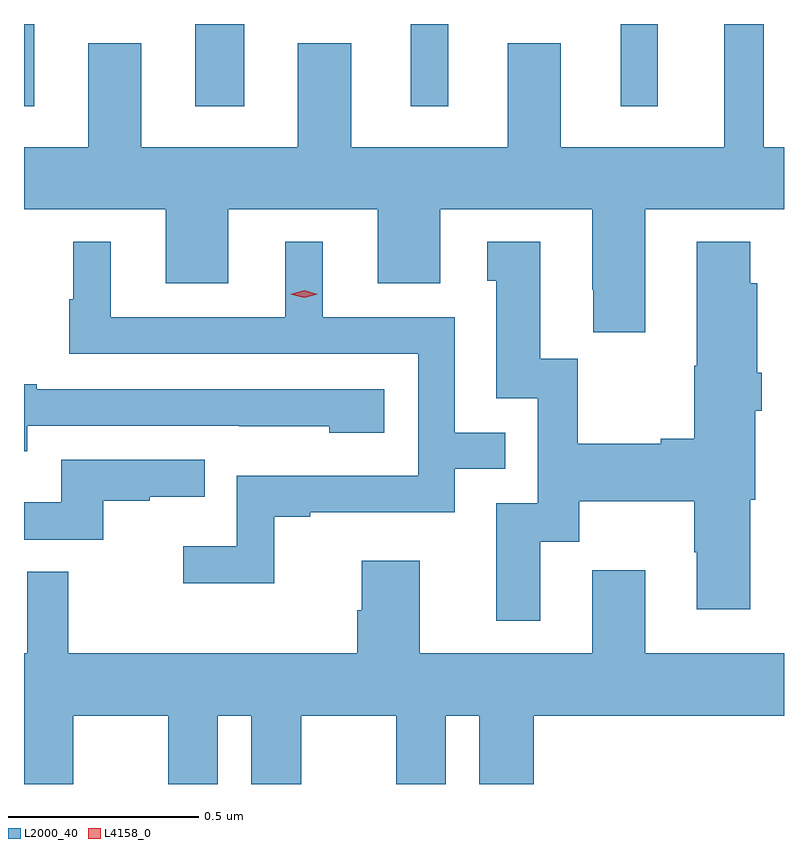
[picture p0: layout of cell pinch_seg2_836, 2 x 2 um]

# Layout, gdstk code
import gdstk
lib = gdstk.Library(unit=1e-6, precision=1e-09)
def R(c, l, rs):  # rectangles x0, y0, x1, y1
    for r in rs: c.add(gdstk.rectangle(r[:2], r[2:], *l))
def P(c, l, *ps):  # polygons
    for p in ps: c.add(gdstk.Polygon(p, *l))
L2000_40 = (2000, 40)
L4158_0 = (4158, 0)

pinch_seg2_836 = lib.new_cell('pinch_seg2_836')
R(pinch_seg2_836, L2000_40, [(750.028,597.291,750.055,597.508), (750.479,597.291,750.607,597.508), (751.046,597.291,751.144,597.508), (751.598,597.291,751.696,597.508)])
P(pinch_seg2_836, L2000_40, [(751.663,597.02),(752.028,597.02),(752.028,597.184),(751.975,597.184),(751.975,597.508),(751.871,597.508),(751.871,597.184),(751.441,597.184),(751.441,597.457),(751.301,597.457),(751.301,597.184),(750.889,597.184),(750.889,597.457),(750.749,597.457),(750.749,597.184),(750.337,597.184),(750.337,597.457),(750.197,597.457),(750.197,597.184),(750.028,597.184),(750.028,597.02),(750.401,597.02),(750.401,596.826),(750.565,596.826),(750.565,597.02),(750.959,597.02),(750.959,596.826),(751.123,596.826),(751.123,597.02),(751.523,597.02),(751.523,596.809),(751.526,596.809),(751.526,596.697),(751.663,596.697)],
  [(750.687,596.211),(750.781,596.211),(750.781,596.223),(751.161,596.223),(751.161,596.337),(751.295,596.337),(751.295,596.433),(751.161,596.433),(751.161,596.736),(750.814,596.736),(750.814,596.935),(750.716,596.935),(750.716,596.736),(750.256,596.736),(750.256,596.935),(750.158,596.935),(750.158,596.784),(750.147,596.784),(750.147,596.64),(751.065,596.64),(751.065,596.319),(750.588,596.319),(750.588,596.134),(750.447,596.134),(750.447,596.036),(750.687,596.036)],
  [(751.387,596.146),(751.489,596.146),(751.489,596.252),(751.792,596.252),(751.792,596.118),(751.799,596.118),(751.799,595.968),(751.939,595.968),(751.939,596.256),(751.952,596.256),(751.952,596.49),(751.97,596.49),(751.97,596.59),(751.957,596.59),(751.957,596.826),(751.939,596.826),(751.939,596.935),(751.799,596.935),(751.799,596.609),(751.792,596.609),(751.792,596.417),(751.703,596.417),(751.703,596.404),(751.485,596.404),(751.485,596.627),(751.387,596.627),(751.387,596.935),(751.247,596.935),(751.247,596.832),(751.271,596.832),(751.271,596.523),(751.38,596.523),(751.38,596.247),(751.271,596.247),(751.271,595.938),(751.387,595.938)],
  [(750.037,596.451),(750.595,596.451),(750.595,596.45),(750.831,596.45),(750.831,596.432),(750.976,596.432),(750.976,596.547),(750.062,596.547),(750.062,596.56),(750.028,596.56),(750.028,596.384),(750.037,596.384)],
  [(750.236,596.253),(750.359,596.253),(750.359,596.264),(750.503,596.264),(750.503,596.361),(750.126,596.361),(750.126,596.249),(750.028,596.249),(750.028,596.151),(750.236,596.151)],
  [(750.157,595.688),(750.407,595.688),(750.407,595.508),(750.538,595.508),(750.538,595.688),(750.626,595.688),(750.626,595.508),(750.757,595.508),(750.757,595.688),(751.007,595.688),(751.007,595.508),(751.138,595.508),(751.138,595.688),(751.226,595.688),(751.226,595.508),(751.37,595.508),(751.37,595.688),(752.028,595.688),(752.028,595.852),(751.663,595.852),(751.663,596.071),(751.523,596.071),(751.523,595.852),(751.069,595.852),(751.069,596.095),(750.917,596.095),(750.917,595.965),(750.905,595.965),(750.905,595.852),(750.145,595.852),(750.145,596.066),(750.036,596.066),(750.036,595.852),(750.028,595.852),(750.028,595.508),(750.157,595.508)])
P(pinch_seg2_836, L4158_0, [(750.765,596.787),(750.729,596.797),(750.729,596.797),(750.729,596.797),(750.765,596.807),(750.801,596.797),(750.801,596.797),(750.801,596.797)])

lib.write_gds('pinch_seg2_836.gds')
